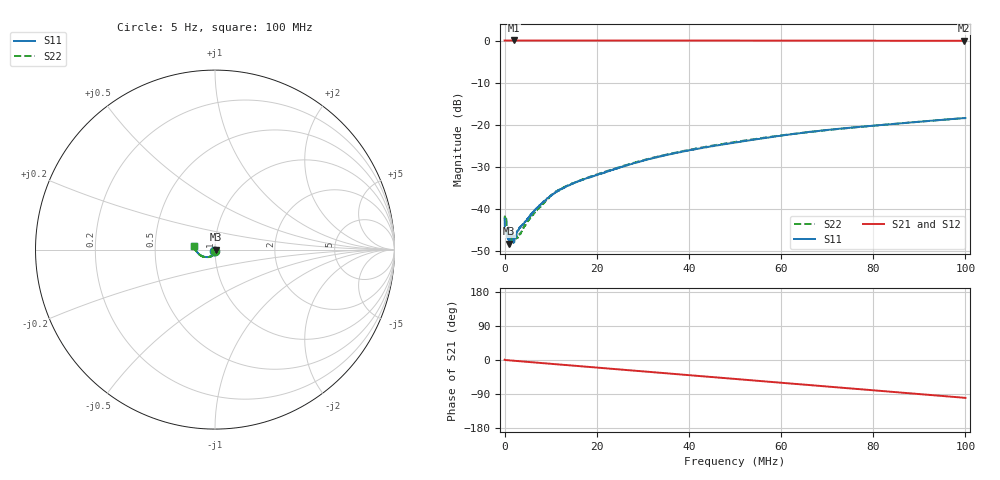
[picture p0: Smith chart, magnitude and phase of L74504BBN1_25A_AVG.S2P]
!Agilent Technologies,E5061B,MY49102235,A.02.00
!Date: Tue Jul 11 15:06:09 2023
!Data & Calibration Information:
!Freq	S11:SOLT2(ON)	S21:SOLT2(ON)	S12:SOLT2(ON)	S22:SOLT2(ON)
# Hz S RI R 50
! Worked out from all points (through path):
!   1600 points, 5 Hz to 100 MHz, reference 50 ohm
!   highest |S21| = 0.02 dB at 2.001 MHz (marker M1); lowest = -0.1 dB at 99.75 MHz (marker M2)
!   group delay of S21, straight-line fit = 2.78 ns
!   lowest |S11| = -48.2 dB at 1.001 MHz (marker M3), VSWR 1.01, Z = 50.4 - j0.0847 ohm
!   |S11| at or under -10 dB: start of sweep to end of sweep
!   |S22| runs from -48.8 to -18.4 dB; largest |S21 - S12| = 0.0026
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5  -0.00522 -0.00565  1.001 0.00799  1 0.0103  -0.00159 -0.00755
437778.6  0.00512 -0.000623  1.001 -0.00533  1.001 -0.00606  0.00661 -0.00227
625395.8  0.00505 -0.000667  1.002 -0.0104  1.002 -0.00991  0.00611 -0.00108
1000630  0.0038 -0.00084  1.001 -0.0163  1.001 -0.016  0.00516 -0.00176
1563482  0.00436 -0.00298  1.001 -0.0262  1.001 -0.0254  0.00317 -0.00357
2001256  0.00304 -0.00293  1.002 -0.0347  1.001 -0.0346  0.00317 -0.00266
2376490  0.00331 -0.00313  0.9997 -0.041  1 -0.0414  0.00396 -0.0028
3252037  0.00424 -0.00436  0.9994 -0.0565  0.9993 -0.0564  0.00315 -0.00386
4690436  0.00372 -0.00622  0.9977 -0.0815  0.9975 -0.0815  0.00342 -0.00588
6003757  0.0033 -0.0082  0.9954 -0.1043  0.9956 -0.1041  0.00283 -0.008
9505946  0.0014 -0.0136  0.9872 -0.1652  0.9875 -0.1649  0.000766 -0.0135
1.163227e7  -0.000169 -0.0166  0.9805 -0.2015  0.9804 -0.2012  -0.00114 -0.0166
1.669794e7  -0.00414 -0.0217  0.9583 -0.2872  0.9583 -0.287  -0.00456 -0.0218
2.582865e7  -0.0117 -0.0299  0.9008 -0.4356  0.9006 -0.4355  -0.00969 -0.0312
3.333334e7  -0.0208 -0.0361  0.8356 -0.5493  0.8356 -0.549  -0.0196 -0.0372
5.003127e7  -0.0453 -0.0417  0.6421 -0.7655  0.642 -0.7653  -0.0456 -0.0428
6.672921e7  -0.0754 -0.0351  0.3944 -0.916  0.3946 -0.9161  -0.0746 -0.0357
7.53596e7  -0.0894 -0.0253  0.2525 -0.9638  0.2527 -0.9638  -0.0887 -0.0266
8.33646e7  -0.1005 -0.0124  0.1161 -0.9889  0.116 -0.989  -0.1001 -0.0149
9.155722e7  -0.1106 0.00314  -0.0259 -0.9941  -0.026 -0.9942  -0.1108 -0.000724
9.974984e7  -0.1185 0.0205  -0.167 -0.9791  -0.1667 -0.9794  -0.1186 0.0169
1e8  -0.1187 0.021  -0.1712 -0.9785  -0.1711 -0.9786  -0.1189 0.0176
